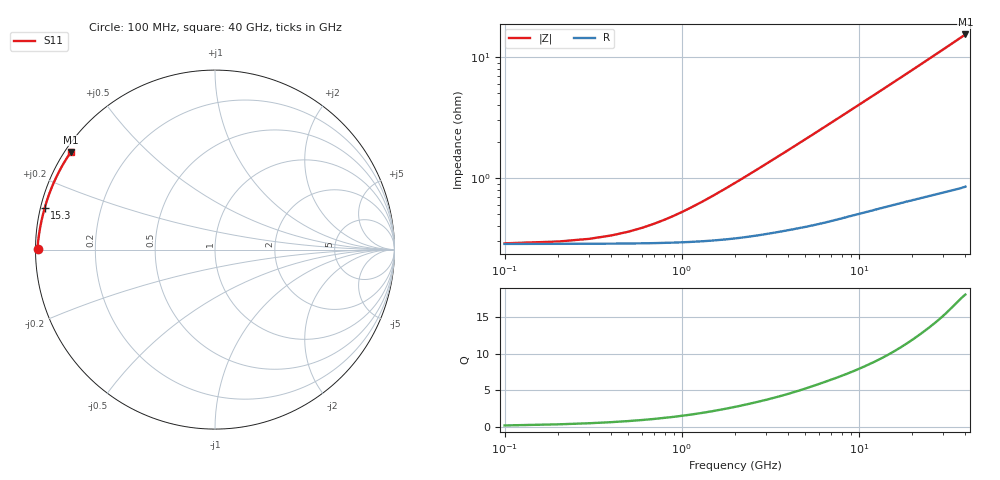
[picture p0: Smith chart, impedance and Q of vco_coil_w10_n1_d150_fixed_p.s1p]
#  Hz  S  RI  R  50
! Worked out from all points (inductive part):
!   400 points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, 100 MHz to 40 GHz, reference 50 ohm
!   read as one part to ground: L = 66.6 pH near 2.3 GHz
!   highest Q = 18.1 at 40 GHz (marker M1), where L = 61.1 pH
!   S11 on the Smith chart (normalised r, x): 100 MHz: 0.01, +0.00; 15.3 GHz: 0.01, +0.12; 40 GHz: 0.02, +0.31
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1e8  -0.9887 0.00171
1.1e9  -0.9881 0.0188
1.8e9  -0.9872 0.0304
2.4e9  -0.9862 0.0402
3.6e9  -0.9839 0.0592
5.1e9  -0.9808 0.0823
6.2e9  -0.9783 0.0991
7.4e9  -0.9752 0.1171
8.8e9  -0.9713 0.1378
1.01e10  -0.9674 0.1568
1.13e10  -0.9636 0.1742
1.26e10  -0.9592 0.1929
1.39e10  -0.9545 0.2114
1.51e10  -0.9499 0.2283
1.53e10  -0.9491 0.2311
1.65e10  -0.9443 0.2479
1.77e10  -0.9392 0.2645
2.01e10  -0.9283 0.2973
2.13e10  -0.9225 0.3135
2.26e10  -0.9159 0.3308
2.38e10  -0.9095 0.3467
2.51e10  -0.9024 0.3637
2.75e10  -0.8885 0.3946
3.01e10  -0.8725 0.4273
3.26e10  -0.8562 0.458
3.51e10  -0.839 0.4879
3.75e10  -0.8216 0.5158
4e10  -0.8025 0.544
